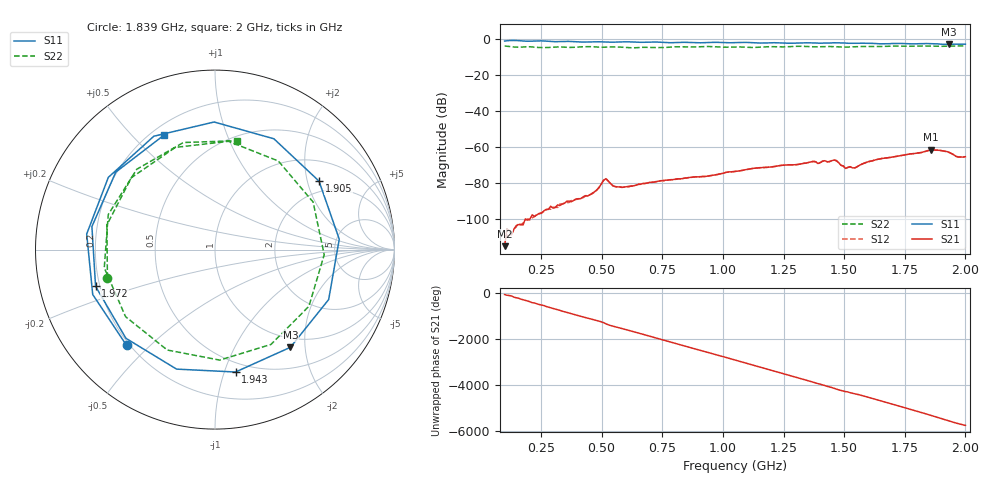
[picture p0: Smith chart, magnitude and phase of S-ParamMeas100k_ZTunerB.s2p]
!Keysight Technologies,N5242B,MY48420967,A.15.65.19
!Date: Monday, December 19, 2022 11:37:21
!Correction: S11(C  2-Port  )
!S21(C  2-Port  )
!S12(C  2-Port  )
!S22(C  2-Port  )
!S2P File: Measurements: S11, S21, S12, S22:
# Hz S  dB  R 50
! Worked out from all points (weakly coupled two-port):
!   201 points, 100 MHz to 2 GHz, reference 50 ohm
!   highest |S21| = -61.54 dB at 1.857 GHz (marker M1); lowest = -114.8 dB at 100 MHz (marker M2)
!   lowest |S11| = -3.3 dB at 1.933 GHz (marker M3), VSWR 5.40, Z = 41.7 - j86.1 ohm
!   |S11| at or under -10 dB: nowhere
!   |S22| runs from -5.1 to -4.1 dB; largest |S21 - S12| = 5.2e-06
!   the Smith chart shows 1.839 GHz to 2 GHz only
!   S11 on the Smith chart (normalised r, x): 1.839 GHz: 0.19, -0.42; 1.905 GHz: 1.61, +2.37; 1.943 GHz: 0.42, -1.09; 1.972 GHz: 0.18, -0.15; 2 GHz: 0.25, +0.62
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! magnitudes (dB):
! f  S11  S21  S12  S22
! 100 MHz  -1.4  -114.8  -110.2  -4.1
! 423 MHz  -2.0  -87.7  -88.0  -4.6
! 499 MHz  -1.8  -80.3  -80.4  -4.8
! 518 MHz  -1.9  -77.5  -77.5  -4.8
! 537 MHz  -2.0  -80.2  -80.3  -4.6
! 679.5 MHz  -2.1  -80.1  -80.2  -4.9
! 736.5 MHz  -2.0  -78.8  -78.9  -5.0
! 1.05 GHz  -2.3  -73.5  -73.5  -4.7
! 1.373 GHz  -2.4  -68.0  -68.0  -4.6
! 1.392 GHz  -2.6  -69.1  -69.2  -4.6
! 1.458 GHz  -2.3  -67.2  -67.2  -4.5
! 1.506 GHz  -2.5  -71.8  -71.9  -4.7
! 1.544 GHz  -2.7  -71.5  -71.6  -4.6
! 1.601 GHz  -2.6  -68.1  -68.0  -4.5
! 1.687 GHz  -2.9  -65.8  -65.8  -4.2
! 1.839 GHz  -2.8  -62.3  -62.3  -4.2
! 1.857 GHz  -2.9  -61.5  -61.6  -4.2
! 1.905 GHz  -3.2  -62.1  -62.1  -4.3
! 1.933 GHz  -3.3  -63.0  -63.0  -4.2
! 1.943 GHz  -3.2  -63.6  -63.7  -4.2
! 1.972 GHz  -3.1  -65.5  -65.5  -4.1
! 2 GHz  -3.1  -65.4  -65.3  -4.2
